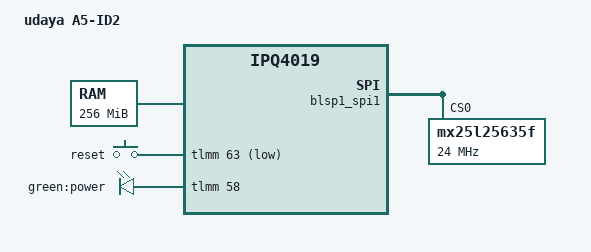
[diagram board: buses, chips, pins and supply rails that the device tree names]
/* Copyright (c) 2015, The Linux Foundation. All rights reserved.
 *
 * Permission to use, copy, modify, and/or distribute this software for any
 * purpose with or without fee is hereby granted, provided that the above
 * copyright notice and this permission notice appear in all copies.
 *
 * THE SOFTWARE IS PROVIDED "AS IS" AND THE AUTHOR DISCLAIMS ALL WARRANTIES
 * WITH REGARD TO THIS SOFTWARE INCLUDING ALL IMPLIED WARRANTIES OF
 * MERCHANTABILITY AND FITNESS. IN NO EVENT SHALL THE AUTHOR BE LIABLE FOR
 * ANY SPECIAL, DIRECT, INDIRECT, OR CONSEQUENTIAL DAMAGES OR ANY DAMAGES
 * WHATSOEVER RESULTING FROM LOSS OF USE, DATA OR PROFITS, WHETHER IN AN
 * ACTION OF CONTRACT, NEGLIGENCE OR OTHER TORTIOUS ACTION, ARISING OUT OF
 * OR IN CONNECTION WITH THE USE OR PERFORMANCE OF THIS SOFTWARE.
 *
 */

#include "qcom-ipq4019-ap.dk01.1.dtsi"
#include <dt-bindings/gpio/gpio.h>
#include <dt-bindings/input/input.h>

/ {
	model = "udaya A5-ID2";
	compatible = "udaya,a5-id2", "qcom,ap-dk01.1-c1", "qcom,ap-dk01.2-c1";

	aliases {
		led-boot = &led_power;
		led-failsafe = &led_power;
		led-running = &led_power;
		led-upgrade = &led_power;
	};

	memory {
		device_type = "memory";
		reg = <0x80000000 0x10000000>;
	};

	keys {
		compatible = "gpio-keys";

		reset {
			label = "reset";
			gpios = <&tlmm 63 GPIO_ACTIVE_LOW>;
			linux,code = <KEY_RESTART>;
		};
	};

	leds {
		compatible = "gpio-leds";

		led_power: power {
			label = "green:power";
			gpios = <&tlmm 58 GPIO_ACTIVE_HIGH>;
		};
	};
};

&blsp1_spi1 {
	mx25l25635f@0 {
		compatible = "mx25l25635f", "jedec,spi-nor";
		#address-cells = <1>;
		#size-cells = <1>;
		reg = <0>;
		spi-max-frequency = <24000000>;

		SBL1@0 {
			label = "SBL1";
			reg = <0x0 0x40000>;
			read-only;
		};
		MIBIB@40000 {
			label = "MIBIB";
			reg = <0x40000 0x20000>;
			read-only;
		};
		QSEE@60000 {
			label = "QSEE";
			reg = <0x60000 0x60000>;
			read-only;
		};
		CDT@c0000 {
			label = "CDT";
			reg = <0xc0000 0x10000>;
			read-only;
		};
		DDRPARAMS@d0000 {
			label = "DDRPARAMS";
			reg = <0xd0000 0x10000>;
			read-only;
		};
		APPSBLENV@e0000 {
			label = "APPSBLENV";
			reg = <0xe0000 0x10000>;
			read-only;
		};
		APPSBL@f0000 {
			label = "APPSBL";
			reg = <0xf0000 0x80000>;
			read-only;
		};
		ART@170000 {
			label = "ART";
			reg = <0x170000 0x10000>;
			read-only;
		};
		firmware@180000 {
			label = "firmware";
			reg = <0x180000 0x1e70000>;
		};
		certificates@1ff0000 {
			label = "certificates";
			reg = <0x1ff0000 0x10000>;
		};
	};
};
